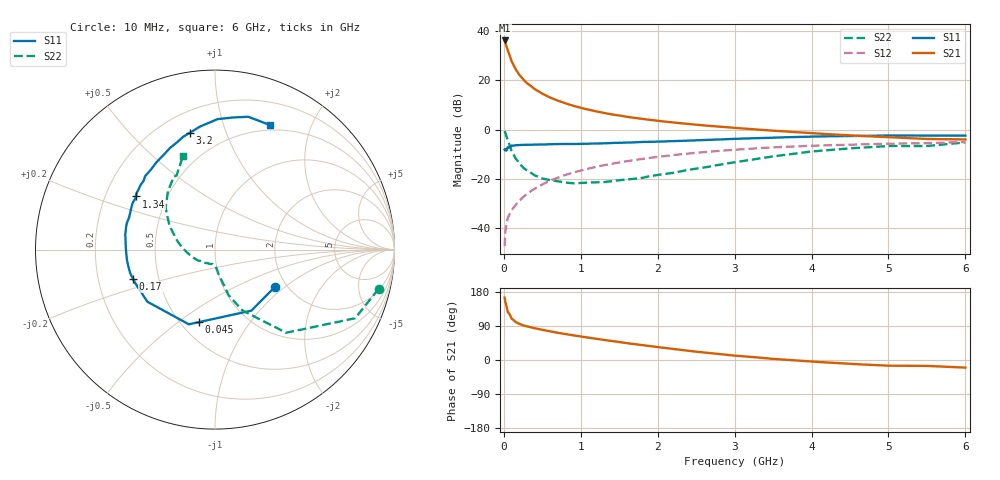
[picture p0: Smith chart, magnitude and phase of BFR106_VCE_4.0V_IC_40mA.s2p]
! Infineon Technologies  Discrete & RF Semiconductors
! BFR106
! VCE =  4.0 V,  IC =  40 mA
! Common Emitter S-Parameters:  Nov 2015
# GHz  S  MA  R  50
!  f  S11  S21  S12  S22
! GHz  MAG  ANG  MAG  ANG  MAG  ANG  MAG  ANG
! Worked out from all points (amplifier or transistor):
!   210 points, 10 MHz to 6 GHz, reference 50 ohm
!   highest |S21| = 36.3 dB at 10 MHz (marker M1)
!   |S21| within 3 dB of that: start of sweep to 40.05 MHz
!   unconditionally stable (mu >= 1): 275.6 MHz to 2.33 GHz
!   at 185 MHz: K = 0.91, MSG = 26.3 dB, |S12| = -29.4 dB
!   at 1.52 GHz: K = 1.05, MAG = 8.1 dB, |S12| = -13.2 dB
!   at 6 GHz: K = 0.99, MSG = 0.5 dB, |S12| = -5.0 dB
!   S11 on the Smith chart (normalised r, x): 10 MHz: 1.74, -0.85; 45 MHz: 0.62, -0.60; 170 MHz: 0.36, -0.15; 1.34 GHz: 0.33, +0.27; 3.2 GHz: 0.32, +0.75; 6 GHz: 0.44, +1.44
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0.01  0.3935 -31.7  65.03 164.7  0.0043 81.6  0.9374 -13.5
0.02  0.3959 -59.2  59.26 152.2  0.0086 71.9  0.8694 -26.1
0.045  0.413 -102.3  43.41 132.7  0.0146 60.8  0.6434 -44.4
0.05  0.4411 -109.3  41.1 127.2  0.0158 59.6  0.6094 -49.5
0.1  0.4758 -142.4  24.67 109.2  0.023 59.3  0.3707 -65.8
0.15  0.4821 -157.3  17.14 100.3  0.029 62.2  0.2651 -73.4
0.17  0.4845 -160.2  15.52 98.6  0.0317 63.4  0.2421 -74.2
0.2  0.4905 -164.5  13.13 95.3  0.0357 64.9  0.2076 -75.6
0.26  0.4927 -171.0  10.2 90.8  0.0439 67.5  0.1651 -79.2
0.3  0.4941 -174.2  8.836 88.6  0.0498 68.7  0.1488 -80.8
0.4  0.4974 179.2  6.707 83.9  0.063 70.3  0.1185 -83.8
0.5  0.4998 174.9  5.385 79.5  0.0772 70.7  0.1018 -86.1
0.6  0.5072 170.3  4.513 75.6  0.0916 70.3  0.0944 -88.9
0.8  0.5131 163.2  3.424 68.5  0.1203 68.7  0.0844 -97.4
1.02  0.5173 155.6  2.73 61.5  0.1509 66.5  0.0833 -105.4
1.34  0.5313 146.1  2.132 51.9  0.1948 62.3  0.0876 -121.2
2.02  0.5727 128.1  1.502 33.6  0.2827 52.5  0.1219 -155.0
3.1  0.6588 104.0  1.06 10.0  0.4007 35.9  0.2294 163.1
3.2  0.6658 102.2  1.032 8.4  0.4097 34.3  0.2429 160.0
4.1  0.7294 87.6  0.831 -5.3  0.4778 20.9  0.3709 137.3
5.1  0.7613 74.8  0.693 -15.1  0.5216 8.2  0.4663 119.1
6  0.7588 66.1  0.634 -20.1  0.5643 -1.5  0.5522 108.8
